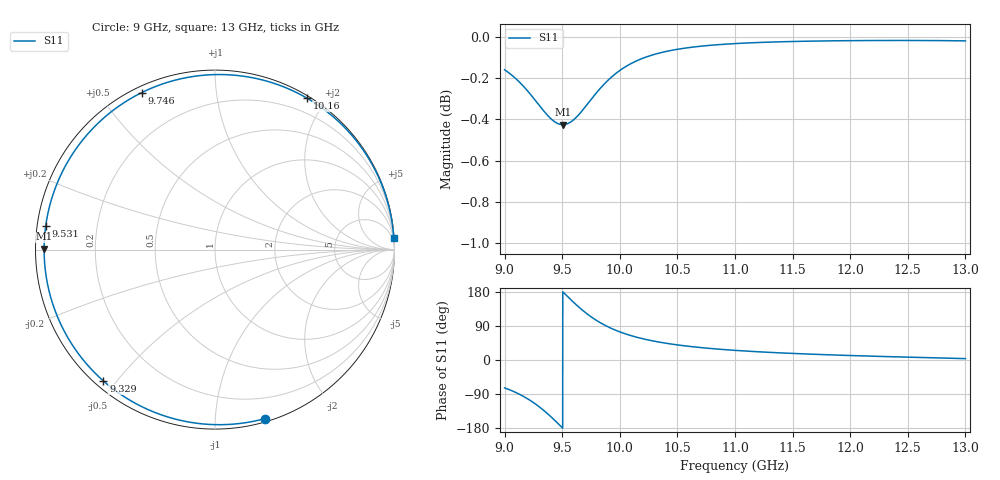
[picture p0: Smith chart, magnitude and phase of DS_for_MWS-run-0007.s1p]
! TOUCHSTONE file generated by CST DESIGN STUDIO
! Date and time: Tue Feb  4 14:09:34 2025
! Project name: C:\Work\MatlabApps\UnitCellOptimizationMatlab\CST\unitcell.cst
! Tree item: Tasks\Sweep1\SPara1\S-Parameters
! Header version: 2024
! Port assignment regex: !\s*Touchstone port\s*([0-9]+)\s*=\s*(CST MWS port|CST DES external port|CST DES block port)\s*(.+)\s* \(\"(.*)\"\)(\s*mode\s*([0-9]+))?.*
! Touchstone port assignment:
! Touchstone port 1 = CST DES external port 1 ("")
# GHz S MA R 50
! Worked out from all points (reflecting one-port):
!   4001 points, 9 GHz to 13 GHz, reference 50 ohm
!   lowest |S11| = -0.4 dB at 9.506 GHz (marker M1), VSWR 40.81, Z = 1.23 + j0.141 ohm
!   phase of S11 starts at -74 deg and turns -283 deg over the sweep
!   S11 on the Smith chart (normalised r, x): 9 GHz: 0.03, -1.34; 9.329 GHz: 0.02, -0.46; 9.531 GHz: 0.02, +0.07; 9.746 GHz: 0.02, +0.64; 10.16 GHz: 0.03, +1.77; 13 GHz: 1, +31
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9  0.9819 -73.6
9.088  0.9775 -84.5
9.191  0.9709 -100.8
9.263  0.9655 -115.0
9.329  0.9603 -130.3
9.375  0.957 -142.3
9.423  0.9542 -155.7
9.462  0.9528 -167.1
9.5  0.9522 -178.5
9.506  0.9522 179.7
9.531  0.9524 172.1
9.584  0.954 156.5
9.643  0.9575 140.0
9.694  0.9612 126.9
9.746  0.9653 115.0
9.798  0.9693 104.4
9.855  0.9734 94.2
9.927  0.9778 83.4
10  0.9815 74.2
10.163  0.9873 58.8
10.316  0.9906 48.6
10.5  0.9932 39.8
10.722  0.995 32.2
11  0.9964 25.4
11.5  0.9975 17.3
12  0.998 11.8
12.5  0.9981 7.5
13  0.9979 3.6
